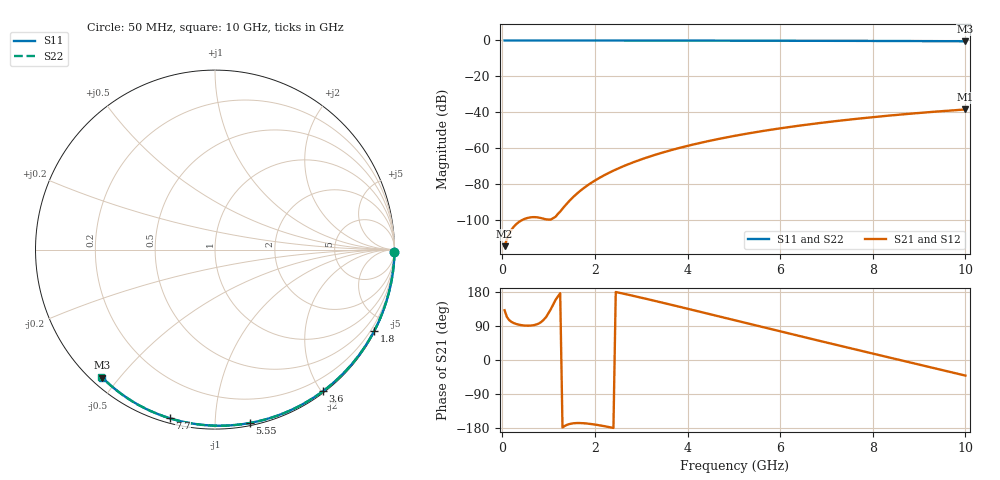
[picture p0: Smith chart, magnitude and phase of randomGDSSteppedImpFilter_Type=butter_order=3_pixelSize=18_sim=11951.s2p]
! freq	dB(S11)	phase(S11)	dB(S12)	phase(S12)
!  dB(S21)	phase(S21)	dB(S22)	phase(S22)
!S-par simulation data
#  GHz  S  DB  R 50
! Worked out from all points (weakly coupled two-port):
!   200 points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, 50 MHz to 10 GHz, reference 50 ohm
!   highest |S21| = -38.52 dB at 10 GHz (marker M1); lowest = -114.8 dB at 50 MHz (marker M2)
!   lowest |S11| = -0.4 dB at 10 GHz (marker M3), VSWR 38.90, Z = 1.55 - j22.6 ohm
!   |S11| at or under -10 dB: nowhere
!   |S22| runs from -0.4 to 0.0 dB; largest |S21 - S12| = 0
!   S11 on the Smith chart (normalised r, x): 50 MHz: open; 1.8 GHz: 0.04, -4.18; 3.6 GHz: 0.02, -2.02; 5.55 GHz: 0.02, -1.22; 7.7 GHz: 0.02, -0.77; 10 GHz: 0.03, -0.45
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0.05  -0.00 -0.8  -114.81 131.3  -114.81 131.3  -0.00 -0.8
0.45  -0.01 -6.8  -99.94 91.4  -99.94 91.4  -0.01 -6.9
0.9  -0.02 -13.6  -99.55 107.0  -99.55 107.0  -0.02 -13.6
1.75  -0.03 -26.2  -82.57 -166.8  -82.57 -166.8  -0.03 -26.3
1.8  -0.03 -26.9  -81.61 -167.3  -81.61 -167.3  -0.03 -27.0
1.9  -0.04 -28.4  -79.83 -168.6  -79.83 -168.6  -0.04 -28.5
2.05  -0.04 -30.6  -77.41 -171.3  -77.41 -171.3  -0.04 -30.7
2.25  -0.04 -33.5  -74.56 -175.7  -74.56 -175.7  -0.04 -33.6
2.45  -0.05 -36.4  -72.06 179.4  -72.06 179.4  -0.05 -36.5
2.65  -0.05 -39.2  -69.82 174.2  -69.82 174.2  -0.05 -39.4
3  -0.06 -44.2  -66.39 164.5  -66.39 164.5  -0.06 -44.4
3.4  -0.07 -49.9  -63.03 153.0  -63.03 153.0  -0.07 -50.0
3.6  -0.07 -52.6  -61.54 147.1  -61.54 147.1  -0.07 -52.8
4.3  -0.09 -62.2  -57.01 126.4  -57.01 126.4  -0.09 -62.4
5.05  -0.11 -72.2  -53.08 104.0  -53.08 104.0  -0.11 -72.4
5.55  -0.13 -78.6  -50.85 89.1  -50.85 89.1  -0.13 -78.9
6.1  -0.15 -85.6  -48.67 72.7  -48.67 72.7  -0.15 -85.9
6.7  -0.18 -93.0  -46.58 55.0  -46.58 55.0  -0.18 -93.3
7.7  -0.24 -105.0  -43.60 25.7  -43.60 25.7  -0.24 -105.3
8.35  -0.29 -112.6  -41.94 6.8  -41.94 6.8  -0.29 -112.9
9.15  -0.36 -121.8  -40.14 -16.4  -40.14 -16.4  -0.36 -122.1
10  -0.45 -131.4  -38.52 -41.1  -38.52 -41.1  -0.44 -131.7
